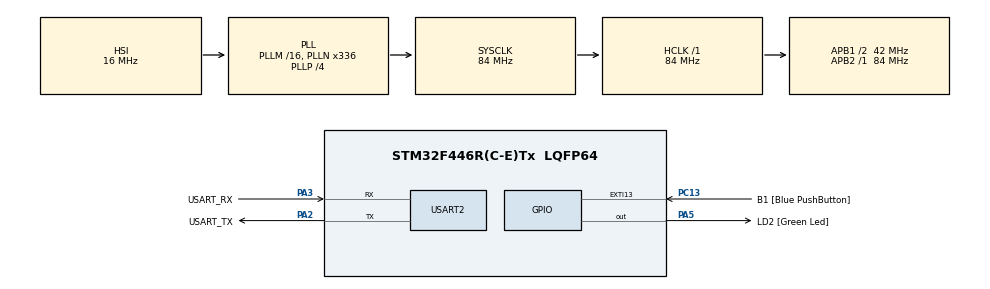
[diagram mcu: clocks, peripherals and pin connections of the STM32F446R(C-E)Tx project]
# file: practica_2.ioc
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Mcu.Family=STM32F4
Mcu.Name=STM32F446R(C-E)Tx
Mcu.Package=LQFP64
NVIC.PriorityGroup=NVIC_PRIORITYGROUP_0
PA13.GPIO_Label=TMS
PA13.Mode=Serial_Wire
PA13.Signal=SYS_JTMS-SWDIO
PA14.GPIO_Label=TCK
PA14.Mode=Serial_Wire
PA14.Signal=SYS_JTCK-SWCLK
PA2.GPIO_Label=USART_TX
PA2.Mode=Asynchronous
PA2.Signal=USART2_TX
PA3.GPIO_Label=USART_RX
PA3.Mode=Asynchronous
PA3.Signal=USART2_RX
PA5.GPIO_Label=LD2 [Green Led]
PA5.Signal=GPIO_Output
PB3.GPIO_Label=SWO
PB3.Signal=SYS_JTDO-SWO
PC13.GPIO_Label=B1 [Blue PushButton]
PC13.GPIO_ModeDefaultEXTI=GPIO_MODE_IT_FALLING
PC13.Signal=GPXTI13
PC14-OSC32_IN.Mode=LSE-External-Oscillator
PC14-OSC32_IN.Signal=RCC_OSC32_IN
PC15-OSC32_OUT.Mode=LSE-External-Oscillator
PC15-OSC32_OUT.Signal=RCC_OSC32_OUT
PH0-OSC_IN.Mode=HSE-External-Oscillator
PH0-OSC_IN.Signal=RCC_OSC_IN
PH1-OSC_OUT.Mode=HSE-External-Oscillator
PH1-OSC_OUT.Signal=RCC_OSC_OUT
ProjectManager.HeapSize=0x200
ProjectManager.StackSize=0x400
ProjectManager.TargetToolchain=STM32CubeIDE
RCC.48MHZClocksFreq_Value=84000000
RCC.AHBFreq_Value=84000000
RCC.APB1CLKDivider=RCC_HCLK_DIV2
RCC.APB1Freq_Value=42000000
RCC.APB1TimFreq_Value=84000000
RCC.APB2Freq_Value=84000000
RCC.APB2TimFreq_Value=84000000
RCC.CortexFreq_Value=84000000
RCC.FLatency-AdvancedSettings=FLASH_LATENCY_2
RCC.HCLKFreq_Value=84000000
RCC.HSE_VALUE=8000000
RCC.HSI_VALUE=16000000
RCC.PLLN=336
RCC.PLLP=RCC_PLLP_DIV4
RCC.SYSCLKFreq_VALUE=84000000
RCC.SYSCLKSource=RCC_SYSCLKSOURCE_PLLCLK
RCC.USBFreq_Value=168000000
RCC.VCOOutputFreq_Value=336000000
USART2.VirtualMode=VM_ASYNC
board=NUCLEO-F446RE

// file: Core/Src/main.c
/* USER CODE BEGIN Header */
/**
 ******************************************************************************
 * @file           : main.c
 * @brief          : Main program body
 ******************************************************************************
 * @attention
 *
 * Copyright (c) 2026 STMicroelectronics.
 * All rights reserved.
 *
 * This software is licensed under terms that can be found in the LICENSE file
 * in the root directory of this software component.
 * If no LICENSE file comes with this software, it is provided AS-IS.
 *
 ******************************************************************************
 */
/* USER CODE END Header */
#include "main.h"
#include "stm32f4xx_hal.h"
#include "stm32f4xx_hal_gpio.h"

/* USER CODE BEGIN Includes */
#include <stdbool.h> //! Include to have the bool type for bool_t definition.
#include <stdint.h>

/* USER CODE END Includes */

/* USER CODE BEGIN PTD */
typedef uint32_t tick_t; //! The stdint has to be used, but it already is included
typedef bool bool_t;

typedef struct {
	tick_t startTime; //! The time that the delay was initialized
	tick_t duration; //! The duration in ms of the delay
	bool_t running; //! Current state of the delay
} delay_t;

/* USER CODE END PTD */

/* USER CODE BEGIN PD */
#define DELAY_DURATION_MS 100 //! Delay duration in ms
/* USER CODE END PD */

UART_HandleTypeDef huart2;

void SystemClock_Config(void);
static void MX_GPIO_Init(void);
static void MX_USART2_UART_Init(void);
/* USER CODE BEGIN PFP */
/**
 * @brief Sets the duration and default config of the delay.
 *
 * @param[in,out] Delay pointer to the delay object.
 * @param[in] Duration value of the time to sleep.
 *
 * @retval None.
 */
void delayInit(delay_t *delay, tick_t duration);

/**
 * @brief Reads the current state of the timer.
 *
 * Stars the timer if not running so it also works as a start condition.
 *
 * @param[in,out] Delay pointer to the delay object.
 *
 * @retval True if duration time has passed.
 */
bool_t delayRead(delay_t *delay);

/**
 * @brief Changes the delay time to the delay object.
 *
 * @param[in,out] Delay pointer to the delay object.
 * @param[in] Duration value of the time to sleep.
 *
 * @retval None.
 */
void delayWrite(delay_t *delay, tick_t duration);
/* USER CODE END PFP */

int main(void) {

	/* MCU Configuration--------------------------------------------------------*/

	/* Reset of all peripherals, Initializes the Flash interface and the Systick.
	 */
	HAL_Init();

	/* Configure the system clock */
	SystemClock_Config();

	/* Initialize all configured peripherals */
	MX_GPIO_Init();
	MX_USART2_UART_Init();
	/* USER CODE BEGIN 2 */
	delay_t dly = { .startTime = 0, .duration = 0, .running = false }; // Init in 0 just in case.
	delayInit(&dly, DELAY_DURATION_MS);
	/* USER CODE END 2 */

	/* Infinite loop */
	/* USER CODE BEGIN WHILE */
	while (1) {
		if (delayRead(&dly)) {
			HAL_GPIO_TogglePin(LD2_GPIO_Port, LD2_Pin); // Toggles the led everytime DELAY_DURATION elapsed
		}
		// Execute the rest of the program...
		/* USER CODE END WHILE */

	}
}

void SystemClock_Config(void) {
	RCC_OscInitTypeDef RCC_OscInitStruct = { 0 };
	RCC_ClkInitTypeDef RCC_ClkInitStruct = { 0 };

	/** Configure the main internal regulator output voltage
	 */
	__HAL_RCC_PWR_CLK_ENABLE();
	__HAL_PWR_VOLTAGESCALING_CONFIG(PWR_REGULATOR_VOLTAGE_SCALE3);

	/** Initializes the RCC Oscillators according to the specified parameters
	 * in the RCC_OscInitTypeDef structure.
	 */
	RCC_OscInitStruct.OscillatorType = RCC_OSCILLATORTYPE_HSI;
	RCC_OscInitStruct.HSIState = RCC_HSI_ON;
	RCC_OscInitStruct.HSICalibrationValue = RCC_HSICALIBRATION_DEFAULT;
	RCC_OscInitStruct.PLL.PLLState = RCC_PLL_ON;
	RCC_OscInitStruct.PLL.PLLSource = RCC_PLLSOURCE_HSI;
	RCC_OscInitStruct.PLL.PLLM = 16;
	RCC_OscInitStruct.PLL.PLLN = 336;
	RCC_OscInitStruct.PLL.PLLP = RCC_PLLP_DIV4;
	RCC_OscInitStruct.PLL.PLLQ = 2;
	RCC_OscInitStruct.PLL.PLLR = 2;
	if (HAL_RCC_OscConfig(&RCC_OscInitStruct) != HAL_OK) {
		Error_Handler();
	}

	/** Initializes the CPU, AHB and APB buses clocks
	 */
	RCC_ClkInitStruct.ClockType = RCC_CLOCKTYPE_HCLK | RCC_CLOCKTYPE_SYSCLK |
	RCC_CLOCKTYPE_PCLK1 | RCC_CLOCKTYPE_PCLK2;
	RCC_ClkInitStruct.SYSCLKSource = RCC_SYSCLKSOURCE_PLLCLK;
	RCC_ClkInitStruct.AHBCLKDivider = RCC_SYSCLK_DIV1;
	RCC_ClkInitStruct.APB1CLKDivider = RCC_HCLK_DIV2;
	RCC_ClkInitStruct.APB2CLKDivider = RCC_HCLK_DIV1;

	if (HAL_RCC_ClockConfig(&RCC_ClkInitStruct, FLASH_LATENCY_2) != HAL_OK) {
		Error_Handler();
	}
}

static void MX_USART2_UART_Init(void) {

	huart2.Instance = USART2;
	huart2.Init.BaudRate = 115200;
	huart2.Init.WordLength = UART_WORDLENGTH_8B;
	huart2.Init.StopBits = UART_STOPBITS_1;
	huart2.Init.Parity = UART_PARITY_NONE;
	huart2.Init.Mode = UART_MODE_TX_RX;
	huart2.Init.HwFlowCtl = UART_HWCONTROL_NONE;
	huart2.Init.OverSampling = UART_OVERSAMPLING_16;
	if (HAL_UART_Init(&huart2) != HAL_OK) {
		Error_Handler();
	}
}

static void MX_GPIO_Init(void) {
	GPIO_InitTypeDef GPIO_InitStruct = { 0 };

	/* GPIO Ports Clock Enable */
	__HAL_RCC_GPIOC_CLK_ENABLE();
	__HAL_RCC_GPIOH_CLK_ENABLE();
	__HAL_RCC_GPIOA_CLK_ENABLE();
	__HAL_RCC_GPIOB_CLK_ENABLE();

	/*Configure GPIO pin Output Level */
	HAL_GPIO_WritePin(LD2_GPIO_Port, LD2_Pin, GPIO_PIN_RESET);

	/*Configure GPIO pin : B1_Pin */
	GPIO_InitStruct.Pin = B1_Pin;
	GPIO_InitStruct.Mode = GPIO_MODE_IT_FALLING;
	GPIO_InitStruct.Pull = GPIO_NOPULL;
	HAL_GPIO_Init(B1_GPIO_Port, &GPIO_InitStruct);

	/*Configure GPIO pin : LD2_Pin */
	GPIO_InitStruct.Pin = LD2_Pin;
	GPIO_InitStruct.Mode = GPIO_MODE_OUTPUT_PP;
	GPIO_InitStruct.Pull = GPIO_NOPULL;
	GPIO_InitStruct.Speed = GPIO_SPEED_FREQ_LOW;
	HAL_GPIO_Init(LD2_GPIO_Port, &GPIO_InitStruct);

}

/* USER CODE BEGIN 4 */
void delayInit(delay_t *delay, tick_t duration) {
	if (delay == NULL || duration == 0)
		return;

	delay->duration = duration;
	delay->running = false;
}

bool_t delayRead(delay_t *delay) {
	if (delay == NULL)
		return false;

	if(delay->duration == 0)
		return false;

	// Start the delay if it's not running
	if (!delay->running) {
		delay->startTime = HAL_GetTick();
		delay->running = true;
		return false;
	}

	// Checks if the timer has finished
	if ( (uint32_t) (HAL_GetTick() - delay->startTime) > delay->duration) {
		delay->running = false;
		return true;
	}

	// Reached if the timer is running but not finished
	return false;
}

void delayWrite(delay_t *delay, tick_t duration) {
	if (delay == NULL || duration == 0)
		return;

	delay->duration = duration;
}
/* USER CODE END 4 */

void Error_Handler(void) {
	__disable_irq();
	while (1) {
	}
}
#ifdef USE_FULL_ASSERT
/**
 * @brief  Reports the name of the source file and the source line number
 *         where the assert_param error has occurred.
 * @param  file: pointer to the source file name
 * @param  line: assert_param error line source number
 * @retval None
 */
void assert_failed(uint8_t *file, uint32_t line) {
  /* USER CODE BEGIN 6 */
  /* User can add his own implementation to report the file name and line
     number, ex: printf("Wrong parameters value: file %s on line %d\r\n", file,
     line) */
  /* USER CODE END 6 */
}
#endif /* USE_FULL_ASSERT */
